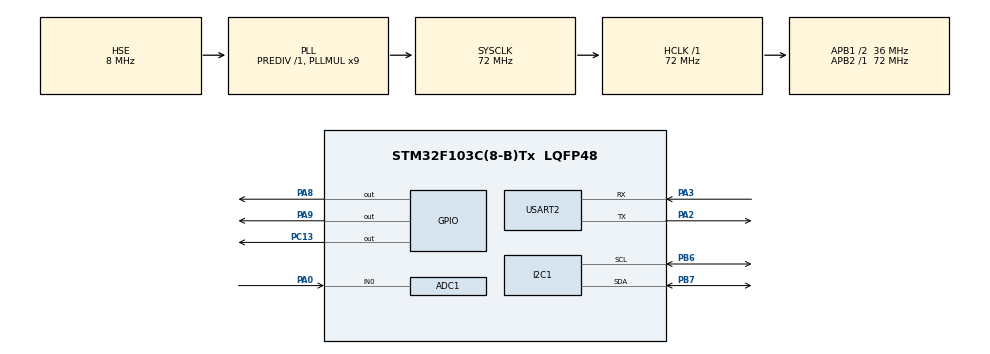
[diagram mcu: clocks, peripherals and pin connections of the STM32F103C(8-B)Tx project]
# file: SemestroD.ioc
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ADC1.Channel-3\#ChannelRegularConversion=ADC_CHANNEL_0
ADC1.ContinuousConvMode=DISABLE
ADC1.EnableRegularConversion=ENABLE
ADC1.NbrOfConversionFlag=1
ADC1.Rank-3\#ChannelRegularConversion=1
ADC1.SamplingTime-3\#ChannelRegularConversion=ADC_SAMPLETIME_1CYCLE_5
ADC1.master=1
Dma.ADC1.0.Direction=DMA_PERIPH_TO_MEMORY
Dma.ADC1.0.Instance=DMA1_Channel1
Dma.ADC1.0.MemDataAlignment=DMA_MDATAALIGN_HALFWORD
Dma.ADC1.0.MemInc=DMA_MINC_ENABLE
Dma.ADC1.0.Mode=DMA_CIRCULAR
Dma.ADC1.0.PeriphDataAlignment=DMA_PDATAALIGN_HALFWORD
Dma.ADC1.0.PeriphInc=DMA_PINC_DISABLE
Dma.ADC1.0.Priority=DMA_PRIORITY_LOW
Dma.Request0=ADC1
Dma.Request1=USART2_TX
Dma.USART2_TX.1.Direction=DMA_MEMORY_TO_PERIPH
Dma.USART2_TX.1.Instance=DMA1_Channel7
Dma.USART2_TX.1.MemDataAlignment=DMA_MDATAALIGN_BYTE
Dma.USART2_TX.1.MemInc=DMA_MINC_ENABLE
Dma.USART2_TX.1.Mode=DMA_NORMAL
Dma.USART2_TX.1.PeriphDataAlignment=DMA_PDATAALIGN_BYTE
Dma.USART2_TX.1.PeriphInc=DMA_PINC_DISABLE
Dma.USART2_TX.1.Priority=DMA_PRIORITY_LOW
Mcu.Family=STM32F1
Mcu.Name=STM32F103C(8-B)Tx
Mcu.Package=LQFP48
NVIC.DMA1_Channel1_IRQn=true\:0\:0\:false\:false\:true\:false\:true\:true
NVIC.DMA1_Channel7_IRQn=true\:0\:0\:false\:false\:true\:false\:true\:true
NVIC.PriorityGroup=NVIC_PRIORITYGROUP_4
NVIC.TIM2_IRQn=true\:0\:0\:false\:false\:true\:true\:true\:true
NVIC.TIM3_IRQn=true\:0\:0\:false\:false\:true\:true\:true\:true
NVIC.USART2_IRQn=true\:0\:0\:false\:false\:true\:true\:true\:true
PA0-WKUP.Signal=ADCx_IN0
PA13.Mode=Serial_Wire
PA13.Signal=SYS_JTMS-SWDIO
PA14.Mode=Serial_Wire
PA14.Signal=SYS_JTCK-SWCLK
PA2.Mode=Asynchronous
PA2.Signal=USART2_TX
PA3.Mode=Asynchronous
PA3.Signal=USART2_RX
PA8.GPIO_PuPd=GPIO_PULLDOWN
PA8.Signal=GPIO_Output
PA9.GPIO_PuPd=GPIO_PULLDOWN
PA9.Signal=GPIO_Output
PB6.Mode=I2C
PB6.Signal=I2C1_SCL
PB7.Mode=I2C
PB7.Signal=I2C1_SDA
PC13-TAMPER-RTC.GPIO_PuPd=GPIO_NOPULL
PC13-TAMPER-RTC.Signal=GPIO_Output
PD0-OSC_IN.Mode=HSE-External-Oscillator
PD0-OSC_IN.Signal=RCC_OSC_IN
PD1-OSC_OUT.Mode=HSE-External-Oscillator
PD1-OSC_OUT.Signal=RCC_OSC_OUT
ProjectManager.HeapSize=0x200
ProjectManager.StackSize=0x400
ProjectManager.TargetToolchain=MDK-ARM V5.32
RCC.ADCPresc=RCC_ADCPCLK2_DIV6
RCC.AHBFreq_Value=72000000
RCC.APB1CLKDivider=RCC_HCLK_DIV2
RCC.APB1Freq_Value=36000000
RCC.APB1TimFreq_Value=72000000
RCC.APB2Freq_Value=72000000
RCC.APB2TimFreq_Value=72000000
RCC.HCLKFreq_Value=72000000
RCC.PLLMUL=RCC_PLL_MUL9
RCC.PLLSourceVirtual=RCC_PLLSOURCE_HSE
RCC.SYSCLKFreq_VALUE=72000000
RCC.SYSCLKSource=RCC_SYSCLKSOURCE_PLLCLK
RCC.USBFreq_Value=72000000
SH.ADCx_IN0.0=ADC1_IN0,IN0
TIM2.AutoReloadPreload=TIM_AUTORELOAD_PRELOAD_ENABLE
TIM2.Period=499
TIM2.Prescaler=7199
TIM3.AutoReloadPreload=TIM_AUTORELOAD_PRELOAD_ENABLE
TIM3.Period=9999
TIM3.Prescaler=7199
USART2.VirtualMode=VM_ASYNC
VP_TIM2_VS_ClockSourceINT.Mode=Internal
VP_TIM3_VS_ClockSourceINT.Mode=Internal
board=custom

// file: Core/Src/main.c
/* USER CODE BEGIN Header */
/**
  ******************************************************************************
  * @file           : main.c
  * @brief          : Main program body
  ******************************************************************************
  * @attention
  *
  * Copyright (c) 2024 STMicroelectronics.
  * All rights reserved.
  *
  * This software is licensed under terms that can be found in the LICENSE file
  * in the root directory of this software component.
  * If no LICENSE file comes with this software, it is provided AS-IS.
  *
  ******************************************************************************
  */
/* USER CODE END Header */
#include "main.h"

/* USER CODE BEGIN Includes */
#include <i2c-lcd.h>
#include <string.h>
#include <stdio.h>
#include <math.h>
/* USER CODE END Includes */

/* USER CODE BEGIN PD */

#define ADC_buf_len 500
//#define ADC_buf_len 293
#define ADC_REFERENCE_VOLTAGE 3300
//#define MAX_VALUES_BUFFER_SIZE 3

/* USER CODE END PD */

ADC_HandleTypeDef hadc1;
DMA_HandleTypeDef hdma_adc1;

I2C_HandleTypeDef hi2c1;

TIM_HandleTypeDef htim1;
TIM_HandleTypeDef htim2;
TIM_HandleTypeDef htim3;

UART_HandleTypeDef huart2;
DMA_HandleTypeDef hdma_usart2_tx;

/* USER CODE BEGIN PV */

uint16_t adc_buf[ADC_buf_len];
float rms_value = 0.0f;
uint32_t sum_squares = 0;
float rms_current = 0.0f;
//uint32_t max_value = 0;
//uint16_t max_values_buffer[MAX_VALUES_BUFFER_SIZE];
float avg_value = 0;
double suntas = 0.44; // resistance in ohms

volatile uint32_t sum_of_squares = 0;
volatile uint16_t max_value = 0;

//volatile uint8_t operation_flag = 0;
char msg[16];
/* USER CODE END PV */

void SystemClock_Config(void);
static void MX_GPIO_Init(void);
static void MX_DMA_Init(void);
static void MX_ADC1_Init(void);
static void MX_USART2_UART_Init(void);
static void MX_I2C1_Init(void);
static void MX_TIM2_Init(void);
static void MX_TIM1_Init(void);
static void MX_TIM3_Init(void);
/* USER CODE BEGIN PFP */

//void display_rms_value(float value);

/* USER CODE END PFP */

/* USER CODE BEGIN 0 */
///*
void HAL_UART_TxCpltCallback(UART_HandleTypeDef *huart)
{
//	HAL_UART_Transmit_IT (&huart2, adc_buf,sizeof(adc_buf));
}
//*/
/*
void HAL_TIM_PeriodElapsedCallback(TIM_HandleTypeDef *htim)
{

    if (htim->Instance == TIM2)
    {

        HAL_UART_Transmit(&huart2, (uint8_t*)adc_buf, sizeof(adc_buf), HAL_MAX_DELAY);
    }
    else if (htim->Instance == TIM3) // Update LCD when TIM3 period elapses
    {
        display_rms_value(rms_value);
    }
}
*/
/*
void display_rms_value(float value)
{
    char buffer[16]; // Buffer to hold the string representation of the RMS value

    // Convert the float value to a string with two decimal places
    snprintf(buffer, sizeof(buffer), "RMS: %d mV", (int)value);

    //lcd_init();           // Clear the LCD screen
    lcd_send_cmd (0x80);     // Set cursor to the beginning of the first line
    lcd_send_string(buffer); // Display the RMS value on the LCD

}

*/
///*

//*/
/*
void UART_Transmit_ADC_Buffer(uint16_t* buffer, uint16_t size)
{
    // Initialize UART transmission buffer
    char uart_buffer[10]; // Buffer to store formatted ADC values

    // Iterate through the ADC buffer and send each value via UART
    for (int i = 0; i < size; i++)
    {
        // Format the ADC value as a string
        snprintf(uart_buffer, sizeof(uart_buffer), "%hu\r\n", buffer[i]);

        // Transmit the formatted ADC value via UART
        HAL_UART_Transmit(&huart2, (uint8_t*)uart_buffer, strlen(uart_buffer), HAL_MAX_DELAY);
    }
}

*/
/*
void HAL_UART_TxCpltCallback(UART_HandleTypeDef *huart)
{
				sprintf(msg, "%hu\r\n", *adc_buf);
				HAL_UART_Transmit_IT(&huart2, (uint8_t *)msg, strlen(msg));
//					HAL_UART_Transmit_IT(&huart2, (uint8_t *)adc_buf, sizeof(adc_buf));
}
*/

void HAL_ADC_ConvCpltCallback(ADC_HandleTypeDef* hadc)
{

	    max_value = 0;
    for (int i = 0; i < ADC_buf_len; i++) {
        if (adc_buf[i] > max_value) {
            max_value = adc_buf[i];
        }
    }
    // Calculate sum of squares and find max value
    for (int i = 0; i < ADC_buf_len; i++) {
        sum_of_squares += adc_buf[i] * adc_buf[i];

    }

    // Calculate RMS value
    rms_value = (sqrtf((float)sum_of_squares / ADC_buf_len))*3.3/4096;
		//rms_value = max_value;
		rms_current = max_value*3.3/4096;

		HAL_GPIO_TogglePin(GPIOC, GPIO_PIN_13);
}
/* USER CODE END 0 */

int main(void)
{

  /* MCU Configuration--------------------------------------------------------*/

  /* Reset of all peripherals, Initializes the Flash interface and the Systick. */
  HAL_Init();

  /* Configure the system clock */
  SystemClock_Config();

  /* USER CODE BEGIN SysInit */

  //HAL_TIM_Base_Start(&htim1); // Start TIM1

  /* USER CODE END SysInit */

  /* Initialize all configured peripherals */
  MX_GPIO_Init();
  MX_DMA_Init();
  MX_ADC1_Init();
  MX_USART2_UART_Init();
  MX_I2C1_Init();
  MX_TIM2_Init();
//  MX_TIM1_Init();
  MX_TIM3_Init();
  /* USER CODE BEGIN 2 */
	lcd_init ();
	HAL_ADC_Start_DMA(&hadc1, (uint32_t*)adc_buf, ADC_buf_len);
  HAL_TIM_Base_Start_IT(&htim2); // Start TIM2
  HAL_TIM_Base_Start_IT(&htim3); // Start TIM3

//	  lcd_send_string("a tu veiki?");
//		HAL_Delay(10);

  /* USER CODE END 2 */

  /* Infinite loop */
  while (1)
  {

//		avg_value = 0;
//    for (int i = 0; i < ADC_buf_len; i++)
//    {
//        avg_value += adc_buf[i];
//    }
//    avg_value = avg_value/ADC_buf_len;

//    // Calculate RMS value
//    int sum = 0;
//    for (int i = 0; i < ADC_buf_len; i++)
//    {
//        sum += pow((adc_buf[i]), 2);
//    }
//    rms_value = sqrt(sum / ADC_buf_len);
//		rms_current = rms_value/suntas;
  }
  /* USER CODE END 3 */
}

void SystemClock_Config(void)
{
  RCC_OscInitTypeDef RCC_OscInitStruct = {0};
  RCC_ClkInitTypeDef RCC_ClkInitStruct = {0};
  RCC_PeriphCLKInitTypeDef PeriphClkInit = {0};

  /** Initializes the RCC Oscillators according to the specified parameters
  * in the RCC_OscInitTypeDef structure.
  */
  RCC_OscInitStruct.OscillatorType = RCC_OSCILLATORTYPE_HSE;
  RCC_OscInitStruct.HSEState = RCC_HSE_ON;
  RCC_OscInitStruct.HSEPredivValue = RCC_HSE_PREDIV_DIV1;
  RCC_OscInitStruct.HSIState = RCC_HSI_ON;
  RCC_OscInitStruct.PLL.PLLState = RCC_PLL_ON;
  RCC_OscInitStruct.PLL.PLLSource = RCC_PLLSOURCE_HSE;
  RCC_OscInitStruct.PLL.PLLMUL = RCC_PLL_MUL9;
  if (HAL_RCC_OscConfig(&RCC_OscInitStruct) != HAL_OK)
  {
    Error_Handler();
  }

  /** Initializes the CPU, AHB and APB buses clocks
  */
  RCC_ClkInitStruct.ClockType = RCC_CLOCKTYPE_HCLK|RCC_CLOCKTYPE_SYSCLK
                              |RCC_CLOCKTYPE_PCLK1|RCC_CLOCKTYPE_PCLK2;
  RCC_ClkInitStruct.SYSCLKSource = RCC_SYSCLKSOURCE_PLLCLK;
  RCC_ClkInitStruct.AHBCLKDivider = RCC_SYSCLK_DIV1;
  RCC_ClkInitStruct.APB1CLKDivider = RCC_HCLK_DIV2;
  RCC_ClkInitStruct.APB2CLKDivider = RCC_HCLK_DIV1;

  if (HAL_RCC_ClockConfig(&RCC_ClkInitStruct, FLASH_LATENCY_2) != HAL_OK)
  {
    Error_Handler();
  }
  PeriphClkInit.PeriphClockSelection = RCC_PERIPHCLK_ADC;
  PeriphClkInit.AdcClockSelection = RCC_ADCPCLK2_DIV6;
  if (HAL_RCCEx_PeriphCLKConfig(&PeriphClkInit) != HAL_OK)
  {
    Error_Handler();
  }
}

static void MX_ADC1_Init(void)
{

  ADC_ChannelConfTypeDef sConfig = {0};

  /** Common config
  */
  hadc1.Instance = ADC1;
  hadc1.Init.ScanConvMode = ADC_SCAN_DISABLE;
  hadc1.Init.ContinuousConvMode = ENABLE;
  hadc1.Init.DiscontinuousConvMode = DISABLE;
  hadc1.Init.ExternalTrigConv = ADC_SOFTWARE_START;
  hadc1.Init.DataAlign = ADC_DATAALIGN_RIGHT;
  hadc1.Init.NbrOfConversion = 1;
  if (HAL_ADC_Init(&hadc1) != HAL_OK)
  {
    Error_Handler();
  }

  /** Configure Regular Channel
  */
  sConfig.Channel = ADC_CHANNEL_0;
  sConfig.Rank = ADC_REGULAR_RANK_1;
  sConfig.SamplingTime = ADC_SAMPLETIME_1CYCLE_5;
  if (HAL_ADC_ConfigChannel(&hadc1, &sConfig) != HAL_OK)
  {
    Error_Handler();
  }

}

static void MX_I2C1_Init(void)
{

  hi2c1.Instance = I2C1;
  hi2c1.Init.ClockSpeed = 700000;
  hi2c1.Init.DutyCycle = I2C_DUTYCYCLE_2;
  hi2c1.Init.OwnAddress1 = 0;
  hi2c1.Init.AddressingMode = I2C_ADDRESSINGMODE_7BIT;
  hi2c1.Init.DualAddressMode = I2C_DUALADDRESS_DISABLE;
  hi2c1.Init.OwnAddress2 = 0;
  hi2c1.Init.GeneralCallMode = I2C_GENERALCALL_DISABLE;
  hi2c1.Init.NoStretchMode = I2C_NOSTRETCH_DISABLE;
  if (HAL_I2C_Init(&hi2c1) != HAL_OK)
  {
    Error_Handler();
  }
  /* USER CODE BEGIN I2C1_Init 2 */
  /* Paleidžiam pertrauktis */

	//HAL_TIM_Base_Start_IT(&htim2);

  /* USER CODE END I2C1_Init 2 */

}

static void MX_TIM1_Init(void)
{

  TIM_ClockConfigTypeDef sClockSourceConfig = {0};
  TIM_MasterConfigTypeDef sMasterConfig = {0};

  htim1.Instance = TIM1;
  htim1.Init.Prescaler = 7199;
  htim1.Init.CounterMode = TIM_COUNTERMODE_UP;
  htim1.Init.Period = 9999;
  htim1.Init.ClockDivision = TIM_CLOCKDIVISION_DIV1;
  htim1.Init.RepetitionCounter = 0;
  htim1.Init.AutoReloadPreload = TIM_AUTORELOAD_PRELOAD_DISABLE;
  if (HAL_TIM_Base_Init(&htim1) != HAL_OK)
  {
    Error_Handler();
  }
  sClockSourceConfig.ClockSource = TIM_CLOCKSOURCE_INTERNAL;
  if (HAL_TIM_ConfigClockSource(&htim1, &sClockSourceConfig) != HAL_OK)
  {
    Error_Handler();
  }
  sMasterConfig.MasterOutputTrigger = TIM_TRGO_RESET;
  sMasterConfig.MasterSlaveMode = TIM_MASTERSLAVEMODE_DISABLE;
  if (HAL_TIMEx_MasterConfigSynchronization(&htim1, &sMasterConfig) != HAL_OK)
  {
    Error_Handler();
  }

}

static void MX_TIM2_Init(void)
{

  TIM_ClockConfigTypeDef sClockSourceConfig = {0};
  TIM_MasterConfigTypeDef sMasterConfig = {0};

  htim2.Instance = TIM2;
  htim2.Init.Prescaler = 71999;
  htim2.Init.CounterMode = TIM_COUNTERMODE_UP;
  htim2.Init.Period = 199;
  htim2.Init.ClockDivision = TIM_CLOCKDIVISION_DIV1;
  htim2.Init.AutoReloadPreload = TIM_AUTORELOAD_PRELOAD_ENABLE;
  if (HAL_TIM_Base_Init(&htim2) != HAL_OK)
  {
    Error_Handler();
  }
  sClockSourceConfig.ClockSource = TIM_CLOCKSOURCE_INTERNAL;
  if (HAL_TIM_ConfigClockSource(&htim2, &sClockSourceConfig) != HAL_OK)
  {
    Error_Handler();
  }
  sMasterConfig.MasterOutputTrigger = TIM_TRGO_RESET;
  sMasterConfig.MasterSlaveMode = TIM_MASTERSLAVEMODE_DISABLE;
  if (HAL_TIMEx_MasterConfigSynchronization(&htim2, &sMasterConfig) != HAL_OK)
  {
    Error_Handler();
  }

}

static void MX_TIM3_Init(void)
{

  TIM_ClockConfigTypeDef sClockSourceConfig = {0};
  TIM_MasterConfigTypeDef sMasterConfig = {0};

  htim3.Instance = TIM3;
  htim3.Init.Prescaler = 71999;
  htim3.Init.CounterMode = TIM_COUNTERMODE_UP;
  htim3.Init.Period = 4999;
  htim3.Init.ClockDivision = TIM_CLOCKDIVISION_DIV1;
  htim3.Init.AutoReloadPreload = TIM_AUTORELOAD_PRELOAD_ENABLE;
  if (HAL_TIM_Base_Init(&htim3) != HAL_OK)
  {
    Error_Handler();
  }
  sClockSourceConfig.ClockSource = TIM_CLOCKSOURCE_INTERNAL;
  if (HAL_TIM_ConfigClockSource(&htim3, &sClockSourceConfig) != HAL_OK)
  {
    Error_Handler();
  }
  sMasterConfig.MasterOutputTrigger = TIM_TRGO_RESET;
  sMasterConfig.MasterSlaveMode = TIM_MASTERSLAVEMODE_DISABLE;
  if (HAL_TIMEx_MasterConfigSynchronization(&htim3, &sMasterConfig) != HAL_OK)
  {
    Error_Handler();
  }

}

static void MX_USART2_UART_Init(void)
{

  huart2.Instance = USART2;
  huart2.Init.BaudRate = 115200;
  huart2.Init.WordLength = UART_WORDLENGTH_8B;
  huart2.Init.StopBits = UART_STOPBITS_1;
  huart2.Init.Parity = UART_PARITY_NONE;
  huart2.Init.Mode = UART_MODE_TX_RX;
  huart2.Init.HwFlowCtl = UART_HWCONTROL_NONE;
  huart2.Init.OverSampling = UART_OVERSAMPLING_16;
  if (HAL_UART_Init(&huart2) != HAL_OK)
  {
    Error_Handler();
  }

}

static void MX_DMA_Init(void)
{

  /* DMA controller clock enable */
  __HAL_RCC_DMA1_CLK_ENABLE();

  /* DMA interrupt init */
  /* DMA1_Channel1_IRQn interrupt configuration */
  HAL_NVIC_SetPriority(DMA1_Channel1_IRQn, 0, 0);
  HAL_NVIC_EnableIRQ(DMA1_Channel1_IRQn);
  /* DMA1_Channel7_IRQn interrupt configuration */
  HAL_NVIC_SetPriority(DMA1_Channel7_IRQn, 0, 0);
  HAL_NVIC_EnableIRQ(DMA1_Channel7_IRQn);

}

static void MX_GPIO_Init(void)
{
  GPIO_InitTypeDef GPIO_InitStruct = {0};

  /* GPIO Ports Clock Enable */
  __HAL_RCC_GPIOC_CLK_ENABLE();
  __HAL_RCC_GPIOD_CLK_ENABLE();
  __HAL_RCC_GPIOA_CLK_ENABLE();
  __HAL_RCC_GPIOB_CLK_ENABLE();

  /*Configure GPIO pin Output Level */
  HAL_GPIO_WritePin(GPIOC, GPIO_PIN_13, GPIO_PIN_RESET);

  /*Configure GPIO pin Output Level */
  HAL_GPIO_WritePin(GPIOA, GPIO_PIN_8|GPIO_PIN_9, GPIO_PIN_RESET);

  /*Configure GPIO pin : PC13 */
  GPIO_InitStruct.Pin = GPIO_PIN_13;
  GPIO_InitStruct.Mode = GPIO_MODE_OUTPUT_PP;
  GPIO_InitStruct.Pull = GPIO_NOPULL;
  GPIO_InitStruct.Speed = GPIO_SPEED_FREQ_LOW;
  HAL_GPIO_Init(GPIOC, &GPIO_InitStruct);

  /*Configure GPIO pins : PA8 PA9 */
  GPIO_InitStruct.Pin = GPIO_PIN_8|GPIO_PIN_9;
  GPIO_InitStruct.Mode = GPIO_MODE_OUTPUT_PP;
  GPIO_InitStruct.Pull = GPIO_PULLDOWN;
  GPIO_InitStruct.Speed = GPIO_SPEED_FREQ_LOW;
  HAL_GPIO_Init(GPIOA, &GPIO_InitStruct);

}

/* USER CODE BEGIN 4 */

 /*
void HAL_ADC_ConvHalfCpltCallback(ADC_HandleTypeDef* hadc)
{
	  HAL_GPIO_TogglePin(GPIOC, GPIO_PIN_13);

    // Calculate average value
    avg_value = 0;
    for (int i = 0; i < ADC_buf_len; i++)
    {
        avg_value += adc_buf[i];
    }
    avg_value = avg_value/ADC_buf_len;

    // Calculate RMS value
    float sum = 0;
    for (int i = 0; i < ADC_buf_len; i++)
    {
        sum += pow((adc_buf[i] - avg_value), 2);
    }
    rms_value = (sqrt((sum / ADC_buf_len)/4095)) * ADC_REFERENCE_VOLTAGE;
//HAL_Delay(1);

//		operation_flag |= 1; // UART
//    operation_flag |= 2; // LCD

	}
 */
void display_rms_value(float value, float value2)
{
    char buffer[16]; // Buffer to hold the string representation of the RMS value
    char buffer_2[16];

    // Convert the float value to a string with two decimal places
    snprintf(buffer, sizeof(buffer), "RMS: %d mV", (int)value);
	  snprintf(buffer_2, sizeof(buffer_2), "max: %d mA", (int)value2);

    lcd_clear();           // Clear the LCD screen
    lcd_put_cur(0,0);     // Set cursor to the beginning of the first line
    lcd_send_string(buffer); // Display the RMS value on the LCD
    lcd_put_cur(1,0);     // Set cursor to the beginning of the first line
    lcd_send_string(buffer_2);
}

void HAL_TIM_PeriodElapsedCallback(TIM_HandleTypeDef *htim)
{
if (htim->Instance == TIM2)
	{
				sprintf(msg, "%hu\r\n", *adc_buf);
				HAL_UART_Transmit_IT(&huart2, (uint8_t *)msg, strlen(msg));
//				HAL_UART_Transmit_IT(&huart2, (uint8_t *)adc_buf, sizeof(adc_buf));
        HAL_GPIO_TogglePin(GPIOA, GPIO_PIN_8);
	}

if (htim->Instance == TIM3)
{
		  display_rms_value(rms_value, rms_current);
	 		HAL_GPIO_TogglePin(GPIOA, GPIO_PIN_9);
}

}

/*
void MX_LCD_Init(void)
{
    lcd_init();
}
*/
/*
		    char buffer[16]; // Buffer to hold the string representation of the RMS value

    // Convert the float value to a string with two decimal places
    snprintf(buffer, sizeof(buffer), "RMS: %.2f", rms_value);

    //lcd_init();           // Clear the LCD screen
    lcd_send_cmd (0x80);     // Set cursor to the beginning of the first line
    lcd_send_string(buffer); // Display the RMS value on the LCD
*/

/*
void HAL_ADC_ConvHalfCpltCallback(ADC_HandleTypeDef* Hadc) {
	HAL_GPIO_WritePin(GPIOC, GPIO_PIN_13, GPIO_PIN_SET);
}

void HAL_ADC_ConvCpltCallback(ADC_HandleTypeDef* Hadc) {
	HAL_GPIO_WritePin(GPIOC, GPIO_PIN_13, GPIO_PIN_RESET);
}

*/

/* USER CODE END 4 */

void Error_Handler(void)
{
  __disable_irq();
  while (1)
  {
  }
}
